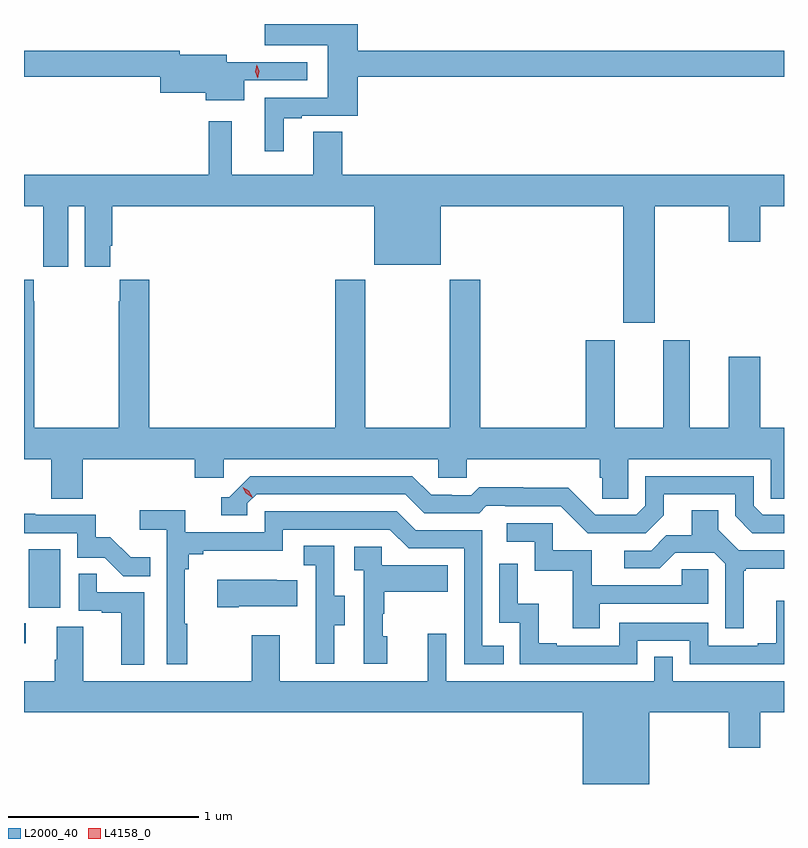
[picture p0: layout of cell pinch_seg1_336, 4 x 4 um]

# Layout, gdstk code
import gdstk
lib = gdstk.Library(unit=1e-6, precision=1e-09)
def R(c, l, rs):  # rectangles x0, y0, x1, y1
    for r in rs: c.add(gdstk.rectangle(r[:2], r[2:], *l))
def P(c, l, *ps):  # polygons
    for p in ps: c.add(gdstk.Polygon(p, *l))
L2000_40 = (2000, 40)
L4158_0 = (4158, 0)

pinch_seg1_336 = lib.new_cell('pinch_seg1_336')
R(pinch_seg1_336, L2000_40, [(952.506,561.42,952.516,561.525), (952.532,561.606,952.696,561.913)])
P(pinch_seg1_336, L2000_40, [(953.872,564.183),(953.968,564.183),(953.968,564.195),(954.263,564.195),(954.263,564.4),(956.506,564.4),(956.506,564.536),(954.263,564.536),(954.263,564.678),(953.774,564.678),(953.774,564.566),(954.104,564.566),(954.104,564.291),(953.774,564.291),(953.774,564.009),(953.872,564.009)],
  [(953.665,564.381),(953.998,564.381),(953.998,564.477),(953.572,564.477),(953.572,564.517),(953.326,564.517),(953.326,564.536),(952.506,564.536),(952.506,564.4),(953.222,564.4),(953.222,564.317),(953.462,564.317),(953.462,564.278),(953.665,564.278)],
  [(955.825,563.72),(956.216,563.72),(956.216,563.532),(956.38,563.532),(956.38,563.72),(956.506,563.72),(956.506,563.884),(954.182,563.884),(954.182,564.11),(954.029,564.11),(954.029,563.884),(953.599,563.884),(953.599,564.166),(953.478,564.166),(953.478,563.884),(952.506,563.884),(952.506,563.72),(952.607,563.72),(952.607,563.512),(952.608,563.512),(952.608,563.4),(952.738,563.4),(952.738,563.72),(952.826,563.72),(952.826,563.4),(952.96,563.4),(952.96,563.512),(952.97,563.512),(952.97,563.72),(954.35,563.72),(954.35,563.411),(954.7,563.411),(954.7,563.72),(955.661,563.72),(955.661,563.106),(955.825,563.106)],
  [(952.814,562.388),(953.405,562.388),(953.405,562.29),(953.556,562.29),(953.556,562.388),(954.687,562.388),(954.687,562.29),(954.837,562.29),(954.837,562.388),(955.535,562.388),(955.535,562.29),(955.549,562.29),(955.549,562.18),(955.686,562.18),(955.686,562.388),(956.436,562.388),(956.436,562.18),(956.506,562.18),(956.506,562.552),(956.38,562.552),(956.38,562.927),(956.216,562.927),(956.216,562.552),(956.011,562.552),(956.011,563.014),(955.871,563.014),(955.871,562.552),(955.615,562.552),(955.615,563.014),(955.463,563.014),(955.463,562.552),(954.908,562.552),(954.908,563.332),(954.748,563.332),(954.748,562.552),(954.303,562.552),(954.303,563.332),(954.143,563.332),(954.143,562.552),(953.165,562.552),(953.165,563.332),(953.011,563.332),(953.011,563.219),(953.005,563.219),(953.005,562.552),(952.56,562.552),(952.56,563.219),(952.557,563.219),(952.557,563.332),(952.506,563.332),(952.506,562.388),(952.649,562.388),(952.649,562.18),(952.814,562.18)],
  [(955.873,562.093),(955.873,562.203),(956.25,562.203),(956.25,562.089),(956.34,561.999),(956.506,561.999),(956.506,562.095),(956.394,562.095),(956.346,562.143),(956.346,562.299),(955.776,562.299),(955.776,562.143),(955.728,562.095),(955.512,562.095),(955.37,562.237),(955.134,562.237),(955.134,562.24),(954.901,562.24),(954.859,562.197),(954.756,562.197),(954.756,562.2),(954.649,562.2),(954.55,562.299),(953.697,562.299),(953.586,562.188),(953.543,562.188),(953.543,562.092),(953.682,562.092),(953.682,562.155),(953.73,562.203),(954.513,562.203),(954.612,562.104),(954.901,562.104),(954.94,562.143),(955.039,562.143),(955.039,562.14),(955.332,562.14),(955.473,561.999),(955.779,561.999)],
  [(956.293,561.801),(956.305,561.801),(956.305,561.812),(956.506,561.812),(956.506,561.909),(956.268,561.909),(956.161,562.016),(956.161,562.118),(956.021,562.118),(956.021,561.986),(955.886,561.986),(955.806,561.906),(955.665,561.906),(955.665,561.813),(955.852,561.813),(955.933,561.894),(956.139,561.894),(956.196,561.837),(956.196,561.498),(956.293,561.498)],
  [(953.365,561.521),(953.353,561.521),(953.353,561.809),(953.372,561.809),(953.372,561.886),(953.449,561.886),(953.449,561.905),(953.868,561.905),(953.868,562.017),(954.432,562.017),(954.531,561.918),(954.822,561.918),(954.822,561.309),(955.031,561.309),(955.031,561.405),(954.918,561.405),(954.918,562.014),(954.568,562.014),(954.469,562.113),(953.772,562.113),(953.772,562.002),(953.354,562.002),(953.354,562.118),(953.115,562.118),(953.115,562.016),(953.256,562.016),(953.256,561.309),(953.365,561.309)],
  [(953.171,561.871),(953.067,561.871),(952.96,561.978),(952.884,561.978),(952.884,562.095),(952.565,562.095),(952.565,562.1),(952.506,562.1),(952.506,561.999),(952.785,561.999),(952.785,561.87),(952.93,561.87),(953.028,561.772),(953.171,561.772)],
  [(955.537,561.627),(956.106,561.627),(956.106,561.807),(955.969,561.807),(955.969,561.723),(955.495,561.723),(955.495,561.909),(955.29,561.909),(955.29,562.05),(955.047,562.05),(955.047,561.954),(955.194,561.954),(955.194,561.801),(955.393,561.801),(955.393,561.498),(955.537,561.498)],
  [(954.139,561.514),(954.193,561.514),(954.193,561.669),(954.138,561.669),(954.138,561.932),(953.979,561.932),(953.979,561.829),(954.042,561.829),(954.042,561.525),(954.041,561.525),(954.041,561.312),(954.139,561.312)],
  [(954.418,561.456),(954.393,561.456),(954.393,561.575),(954.403,561.575),(954.403,561.689),(954.737,561.689),(954.737,561.829),(954.39,561.829),(954.39,561.927),(954.243,561.927),(954.243,561.803),(954.294,561.803),(954.294,561.312),(954.418,561.312)],
  [(955.734,561.432),(956.01,561.432),(956.01,561.309),(956.506,561.309),(956.506,561.643),(956.465,561.643),(956.465,561.418),(956.369,561.418),(956.369,561.405),(956.106,561.405),(956.106,561.528),(955.638,561.528),(955.638,561.405),(955.309,561.405),(955.309,561.418),(955.214,561.418),(955.214,561.626),(955.104,561.626),(955.104,561.838),(955.008,561.838),(955.008,561.528),(955.116,561.528),(955.116,561.309),(955.734,561.309)],
  [(953.14,561.687),(952.889,561.687),(952.889,561.785),(952.794,561.785),(952.794,561.591),(952.915,561.591),(952.915,561.579),(953.018,561.579),(953.018,561.305),(953.14,561.305)],
  [(953.635,561.614),(953.945,561.614),(953.945,561.751),(953.837,561.751),(953.837,561.754),(953.523,561.754),(953.523,561.607),(953.635,561.607)],
  [(955.798,561.056),(956.216,561.056),(956.216,560.868),(956.38,560.868),(956.38,561.056),(956.506,561.056),(956.506,561.22),(955.92,561.22),(955.92,561.347),(955.824,561.347),(955.824,561.22),(954.729,561.22),(954.729,561.469),(954.632,561.469),(954.632,561.22),(953.851,561.22),(953.851,561.46),(953.704,561.46),(953.704,561.22),(952.819,561.22),(952.819,561.506),(952.679,561.506),(952.679,561.332),(952.667,561.332),(952.667,561.22),(952.506,561.22),(952.506,561.056),(955.448,561.056),(955.448,560.678),(955.798,560.678)])
P(pinch_seg1_336, L4158_0, [(953.736,564.392),(953.724,564.428),(953.731,564.464),(953.731,564.464),(953.731,564.464),(953.744,564.429),(953.737,564.392),(953.737,564.392)],
  [(953.705,562.188),(953.674,562.208),(953.658,562.24),(953.658,562.241),(953.658,562.241),(953.689,562.221),(953.706,562.189),(953.706,562.188)])

lib.write_gds('pinch_seg1_336.gds')
